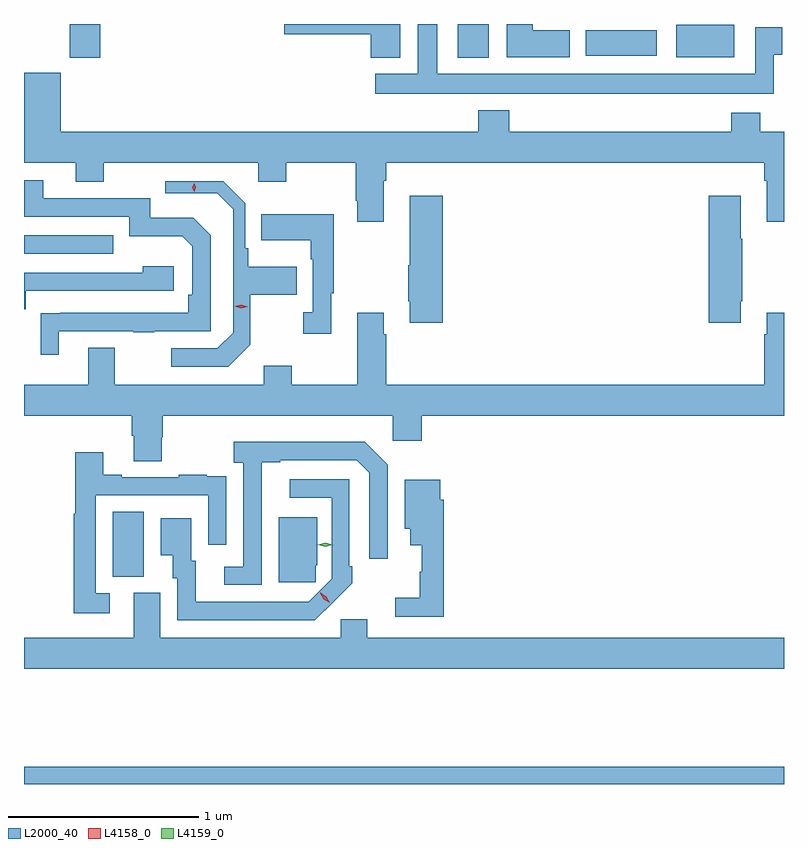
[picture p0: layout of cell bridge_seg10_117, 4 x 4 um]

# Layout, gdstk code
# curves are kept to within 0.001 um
import gdstk
lib = gdstk.Library(unit=1e-6, precision=1e-09)
def R(c, l, rs):  # rectangles x0, y0, x1, y1
    for r in rs: c.add(gdstk.rectangle(r[:2], r[2:], *l))
def P(c, l, *ps):  # polygons
    for p in ps: c.add(gdstk.Polygon(p, *l))
L2000_40 = (2000, 40)
L4158_0 = (4158, 0)
L4159_0 = (4159, 0)

bridge_seg10_117 = lib.new_cell('bridge_seg10_117')
R(bridge_seg10_117, L2000_40, [(393.957,1261.082,397.957,1261.172), (394.424,1262.173,394.588,1262.516), (393.957,1263.873,394.427,1263.969), (396.239,1264.904,396.403,1265.082), (394.198,1264.905,394.358,1265.082), (397.391,1264.907,397.696,1265.077), (396.914,1264.916,397.288,1265.05)])
P(bridge_seg10_117, L2000_40, [(397.903,1264.921),(397.948,1264.921),(397.948,1265.065),(397.806,1265.065),(397.806,1264.819),(396.133,1264.819),(396.133,1265.082),(396.029,1265.082),(396.029,1264.819),(395.805,1264.819),(395.805,1264.715),(397.903,1264.715)],
  [(396.829,1265.05),(396.634,1265.05),(396.634,1265.082),(396.497,1265.082),(396.497,1264.907),(396.829,1264.907)],
  [(395.938,1265.082),(395.328,1265.082),(395.328,1265.027),(395.783,1265.027),(395.783,1264.904),(395.938,1264.904)],
  [(395.851,1264.256),(395.864,1264.256),(395.864,1264.352),(397.853,1264.352),(397.853,1264.256),(397.865,1264.256),(397.865,1264.041),(397.957,1264.041),(397.957,1264.516),(397.831,1264.516),(397.831,1264.615),(397.679,1264.615),(397.679,1264.516),(396.512,1264.516),(396.512,1264.627),(396.347,1264.627),(396.347,1264.516),(394.15,1264.516),(394.15,1264.825),(393.957,1264.825),(393.957,1264.352),(394.229,1264.352),(394.229,1264.253),(394.377,1264.253),(394.377,1264.352),(395.189,1264.352),(395.189,1264.253),(395.337,1264.253),(395.337,1264.352),(395.704,1264.352),(395.704,1264.153),(395.711,1264.153),(395.711,1264.041),(395.851,1264.041)],
  [(394.141,1263.465),(394.531,1263.465),(394.531,1263.46),(394.643,1263.46),(394.643,1263.465),(394.939,1263.465),(394.939,1263.971),(394.847,1264.063),(394.621,1264.063),(394.621,1264.164),(394.057,1264.164),(394.057,1264.26),(393.957,1264.26),(393.957,1264.068),(394.512,1264.068),(394.512,1263.965),(394.789,1263.965),(394.842,1263.912),(394.842,1263.658),(394.822,1263.658),(394.822,1263.561),(394.045,1263.56),(394.045,1263.342),(394.141,1263.342)],
  [(395.147,1263.395),(395.147,1263.658),(395.393,1263.658),(395.393,1263.805),(395.137,1263.805),(395.137,1263.901),(395.121,1263.901),(395.121,1264.138),(395.005,1264.254),(394.701,1264.254),(394.701,1264.19),(394.975,1264.19),(395.057,1264.108),(395.057,1263.458),(394.974,1263.375),(394.731,1263.375),(394.731,1263.279),(395.031,1263.279)],
  [(396.16,1264.177),(395.987,1264.177),(395.987,1263.811),(395.98,1263.811),(395.98,1263.622),(395.987,1263.622),(395.987,1263.51),(396.16,1263.51)],
  [(397.729,1263.622),(397.737,1263.622),(397.737,1263.953),(397.729,1263.953),(397.729,1264.177),(397.562,1264.177),(397.562,1263.51),(397.729,1263.51)],
  [(395.575,1263.665),(395.587,1263.665),(395.587,1264.081),(395.206,1264.081),(395.206,1263.943),(395.466,1263.943),(395.466,1263.845),(395.478,1263.845),(395.478,1263.566),(395.427,1263.566),(395.427,1263.453),(395.575,1263.453)],
  [(393.967,1263.678),(394.744,1263.678),(394.744,1263.808),(394.583,1263.808),(394.583,1263.774),(393.957,1263.774),(393.957,1263.581),(393.967,1263.581)],
  [(394.683,1262.907),(394.688,1262.907),(394.688,1263.02),(395.898,1263.02),(395.898,1262.889),(396.05,1262.889),(396.05,1263.02),(397.957,1263.02),(397.957,1263.562),(397.865,1263.562),(397.865,1263.449),(397.853,1263.449),(397.853,1263.184),(395.864,1263.184),(395.864,1263.449),(395.851,1263.449),(395.851,1263.562),(395.711,1263.562),(395.711,1263.184),(395.367,1263.184),(395.367,1263.283),(395.219,1263.283),(395.219,1263.184),(394.435,1263.184),(394.435,1263.379),(394.295,1263.379),(394.295,1263.184),(393.957,1263.184),(393.957,1263.02),(394.523,1263.02),(394.523,1262.914),(394.535,1262.914),(394.535,1262.782),(394.683,1262.782)],
  [(395.208,1262.775),(395.305,1262.775),(395.305,1262.787),(395.709,1262.787),(395.775,1262.721),(395.775,1262.268),(395.871,1262.268),(395.871,1262.763),(395.75,1262.884),(395.061,1262.884),(395.061,1262.774),(395.112,1262.774),(395.112,1262.226),(395.01,1262.226),(395.01,1262.13),(395.208,1262.13)],
  [(394.408,1262.085),(394.335,1262.085),(394.335,1262.601),(394.926,1262.601),(394.926,1262.34),(395.022,1262.34),(395.022,1262.594),(395.021,1262.594),(395.021,1262.703),(394.919,1262.703),(394.919,1262.71),(394.771,1262.71),(394.771,1262.697),(394.471,1262.697),(394.471,1262.71),(394.375,1262.71),(394.375,1262.827),(394.227,1262.827),(394.227,1262.504),(394.219,1262.504),(394.219,1261.98),(394.408,1261.98)],
  [(395.589,1262.044),(395.685,1262.139),(395.685,1262.227),(395.67,1262.227),(395.67,1262.685),(395.355,1262.685),(395.355,1262.589),(395.577,1262.589),(395.577,1262.161),(395.456,1262.04),(394.861,1262.04),(394.861,1262.256),(394.837,1262.256),(394.837,1262.482),(394.676,1262.482),(394.676,1262.285),(394.739,1262.285),(394.739,1262.166),(394.764,1262.166),(394.764,1261.944),(395.488,1261.944)],
  [(396.167,1262.579),(396.148,1262.579),(396.148,1262.683),(395.96,1262.683),(395.96,1262.426),(395.99,1262.426),(395.99,1262.339),(396.05,1262.339),(396.05,1262.199),(396.039,1262.199),(396.039,1262.063),(395.91,1262.063),(395.91,1261.962),(396.167,1261.962)],
  [(395.493,1262.233),(395.5,1262.233),(395.5,1262.487),(395.297,1262.487),(395.297,1262.143),(395.493,1262.143)],
  [(397.957,1261.852),(395.764,1261.852),(395.764,1261.95),(395.625,1261.95),(395.625,1261.852),(394.675,1261.852),(394.675,1262.088),(394.535,1262.088),(394.535,1261.852),(393.957,1261.852),(393.957,1261.688),(397.957,1261.688)])
P(bridge_seg10_117, L4158_0, [(395.566,1262.036),(395.535,1262.055),(395.517,1262.087),(395.517,1262.088),(395.518,1262.088),(395.549,1262.068),(395.567,1262.036),(395.567,1262.036)],
  [(395.099,1263.585),(395.065,1263.596),(395.065,1263.597),(395.065,1263.597),(395.1,1263.605),(395.135,1263.593),(395.135,1263.593),(395.135,1263.593)],
  [(394.852,1264.199),(394.852,1264.199),(394.842,1264.222),(394.852,1264.245),(394.852,1264.245),(394.853,1264.245),(394.862,1264.222),(394.853,1264.199)])
P(bridge_seg10_117, L4159_0, [(395.543,1262.332),(395.504,1262.341),(395.503,1262.342),(395.504,1262.342),(395.543,1262.352),(395.582,1262.342),(395.582,1262.342),(395.582,1262.341)])

lib.write_gds('bridge_seg10_117.gds')
